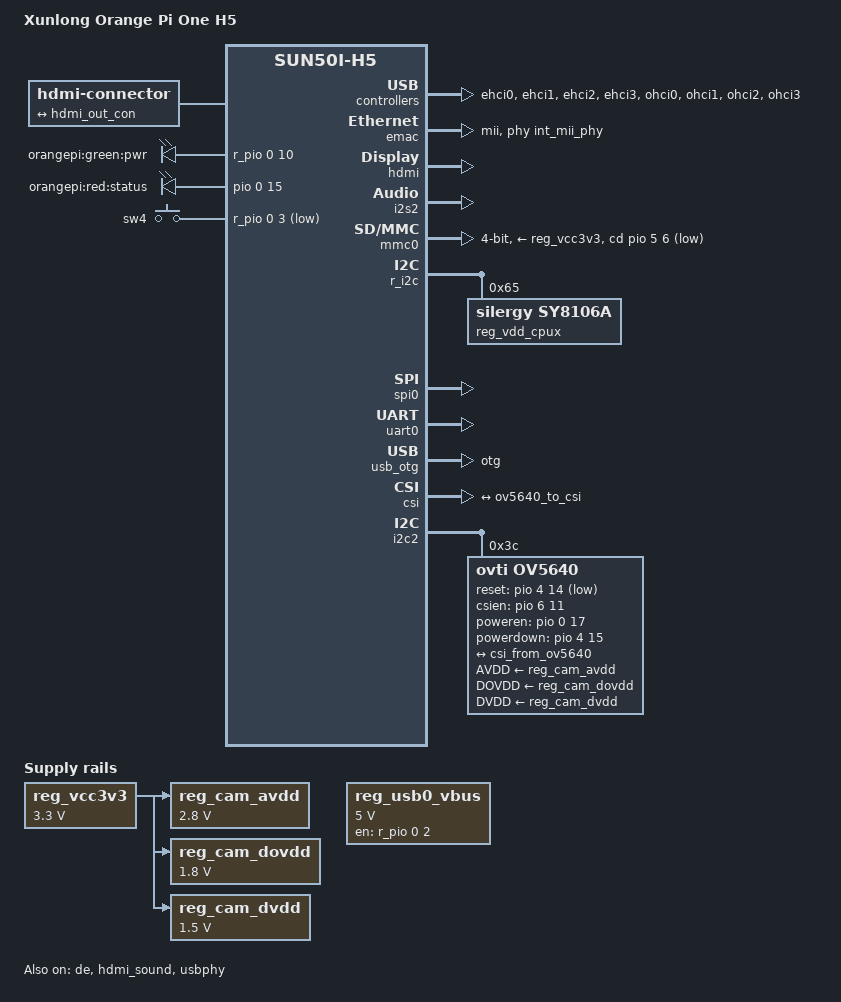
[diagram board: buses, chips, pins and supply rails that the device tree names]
// SPDX-License-Identifier: (GPL-2.0+ OR MIT)
// Copyright (C) 2016 ARM Ltd.

/dts-v1/;
#include "sun50i-h5.dtsi"
#include "sun50i-h5-cpu-opp.dtsi"

#include <dt-bindings/gpio/gpio.h>
#include <dt-bindings/input/input.h>
#include <dt-bindings/pinctrl/sun4i-a10.h>

/ {
	model = "Xunlong Orange Pi One H5";
	compatible = "xunlong,orangepi-one", "allwinner,sun50i-h5";

	reg_vcc3v3: vcc3v3 {
		compatible = "regulator-fixed";
		regulator-name = "vcc3v3";
		regulator-min-microvolt = <3300000>;
		regulator-max-microvolt = <3300000>;
	};

	aliases {
		ethernet0 = &emac;
		serial0 = &uart0;
	};

	chosen {
		stdout-path = "serial0:115200n8";
	};

	connector {
		compatible = "hdmi-connector";
		type = "a";

		port {
			hdmi_con_in: endpoint {
				remote-endpoint = <&hdmi_out_con>;
			};
		};
	};

	leds {
		compatible = "gpio-leds";

		pwr {
			label = "orangepi:green:pwr";
			gpios = <&r_pio 0 10 GPIO_ACTIVE_HIGH>;
			default-state = "on";
		};

		status {
			label = "orangepi:red:status";
			gpios = <&pio 0 15 GPIO_ACTIVE_HIGH>;
		};
	};

	r-gpio-keys {
		compatible = "gpio-keys";

		sw4 {
			label = "sw4";
			linux,code = <KEY_POWER>;
			gpios = <&r_pio 0 3 GPIO_ACTIVE_LOW>;
			wakeup-source;
		};
	};

	reg_usb0_vbus: usb0-vbus {
		compatible = "regulator-fixed";
		regulator-name = "usb0-vbus";
		regulator-min-microvolt = <5000000>;
		regulator-max-microvolt = <5000000>;
		enable-active-high;
		gpio = <&r_pio 0 2 GPIO_ACTIVE_HIGH>; /* PL2 */
		status = "okay";
	};

	reg_cam_avdd: cam-avdd {
		compatible = "regulator-fixed";
		regulator-name = "cam500b-avdd";
		regulator-min-microvolt = <2800000>;
		regulator-max-microvolt = <2800000>;
		vin-supply = <&reg_vcc3v3>;
	};
	
	reg_cam_dovdd: cam-dovdd {
		compatible = "regulator-fixed";
		regulator-name = "cam500b-dovdd";
		regulator-min-microvolt = <1800000>;
		regulator-max-microvolt = <1800000>;
		vin-supply = <&reg_vcc3v3>;
	};
	
	reg_cam_dvdd: cam-dvdd {
		compatible = "regulator-fixed";
		regulator-name = "cam500b-dvdd";
		regulator-min-microvolt = <1500000>;
		regulator-max-microvolt = <1500000>;
		vin-supply = <&reg_vcc3v3>;
	};
};

&cpu0 {
	cpu-supply = <&reg_vdd_cpux>;
};

&codec {
	allwinner,audio-routing =
		"Line Out", "LINEOUT",
		"MIC1", "Mic",
		"Mic",  "MBIAS";
	status = "disable";
};

&cpu0 {
	cpu-supply = <&reg_vdd_cpux>;
};

&de {
	status = "okay";
};

&ehci0 {
	status = "okay";
};

&ehci1 {
	status = "okay";
};

&ehci2 {
	status = "okay";
};

&ehci3 {
	status = "okay";
};

&emac {
        phy-handle = <&int_mii_phy>;
        phy-mode = "mii";
        allwinner,leds-active-low;
        status = "okay";
};

&hdmi {
	status = "okay";
};

&hdmi_out {
	hdmi_out_con: endpoint {
		remote-endpoint = <&hdmi_con_in>;
	};
};

&hdmi_sound {
	status = "okay";
};

&i2s2 {
	status = "okay";
};

&ir {
	pinctrl-names = "default";
	pinctrl-0 = <&r_ir_rx_pin>;
	status = "disable";
};

&mmc0 {
	vmmc-supply = <&reg_vcc3v3>;
	bus-width = <4>;
	cd-gpios = <&pio 5 6 GPIO_ACTIVE_LOW>; /* PF6 */
	status = "okay";
};

&ohci0 {
	status = "okay";
};

&ohci1 {
	status = "okay";
};

&ohci2 {
	status = "okay";
};

&ohci3 {
	status = "okay";
};

&r_i2c {
	status = "okay";

	reg_vdd_cpux: regulator@65 {
		compatible = "silergy,sy8106a";
		reg = <0x65>;
		regulator-name = "vdd-cpux";
		silergy,fixed-microvolt = <1100000>;
		regulator-min-microvolt = <1000000>;
		regulator-max-microvolt = <1400000>;
		regulator-ramp-delay = <200>;
		regulator-boot-on;
		regulator-always-on;
	};
};

&r_i2c {
	status = "okay";

	reg_vdd_cpux: regulator@65 {
		compatible = "silergy,sy8106a";
		reg = <0x65>;
		regulator-name = "vdd-cpux";
		silergy,fixed-microvolt = <1200000>;
		/*
		 * The datasheet uses 1.1V as the minimum value of VDD-CPUX,
		 * however both the Armbian DVFS table and the official one
		 * have operating points with voltage under 1.1V, and both
		 * DVFS table are known to work properly at the lowest
		 * operating point.
		 *
		 * Use 1.0V as the minimum voltage instead.
		 */
		regulator-min-microvolt = <1000000>;
		regulator-max-microvolt = <1400000>;
		regulator-ramp-delay = <200>;
		regulator-boot-on;
		regulator-always-on;
	};
};

&spi0 {
	status = "okay";
};

&uart0 {
	pinctrl-names = "default";
	pinctrl-0 = <&uart0_pa_pins>;
	status = "okay";
};

&uart1 {
	pinctrl-names = "default";
	pinctrl-0 = <&uart1_pins>;
	status = "disabled";
};

&uart2 {
	pinctrl-names = "default";
	pinctrl-0 = <&uart2_pins>;
	status = "disabled";
};

&usb_otg {
	dr_mode = "otg";
	status = "okay";
};

&usbphy {
	/* USB Type-A ports' VBUS is always on */
	usb0_id_det-gpios = <&pio 6 12 GPIO_ACTIVE_HIGH>; /* PG12 */
	usb0_vbus-supply = <&reg_usb0_vbus>;
	status = "okay";
};

&csi {
        status = "okay";

        port {
                #address-cells = <1>;
                #size-cells = <0>;

                /* Parallel bus endpoint */
                csi_from_ov5640: endpoint {
                        remote-endpoint = <&ov5640_to_csi>;
                        bus-width = <8>;
                        data-shift = <2>;
                        hsync-active = <1>; /* Active high */
                        vsync-active = <0>; /* Active low */
                        data-active = <1>;  /* Active high */
                        pclk-sample = <1>;  /* Rising */
                };
        };
};


&i2c2 {
        status = "okay";

        ov5640: camera@3c {
                compatible = "ovti,ov5640";
                reg = <0x3c>;
                pinctrl-names = "default";
                pinctrl-0 = <&csi_mclk_pin>;
                clocks = <&ccu CLK_CSI_MCLK>;
                clock-names = "xclk";
                reset-gpios = <&pio 4 14 GPIO_ACTIVE_LOW>;
                csien-gpios = <&pio 6 11 GPIO_ACTIVE_HIGH>;
                poweren-gpios = <&pio 0 17 GPIO_ACTIVE_HIGH>;
                powerdown-gpios = <&pio 4 15 GPIO_ACTIVE_HIGH>;
                AVDD-supply = <&reg_cam_avdd>;
                DOVDD-supply = <&reg_cam_dovdd>;
                DVDD-supply = <&reg_cam_dvdd>;

                port {
                        ov5640_to_csi: endpoint {
                                remote-endpoint = <&csi_from_ov5640>;
                                bus-width = <8>;
                                data-shift = <2>;
                                hsync-active = <1>; /* Active high */
                                vsync-active = <0>; /* Active low */
                                data-active = <1>;  /* Active high */
                                pclk-sample = <1>;  /* Rising */
                                };
                };
        };
};

&i2c2_pins {
        bias-pull-up;
};
